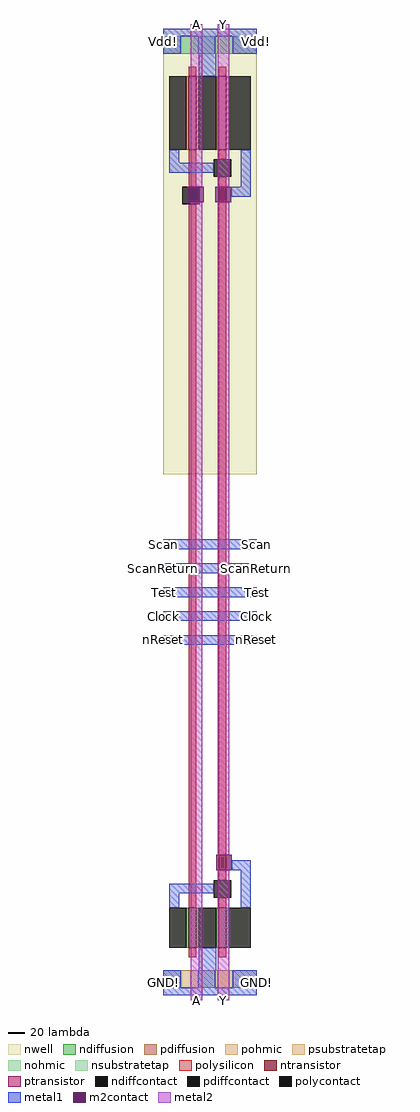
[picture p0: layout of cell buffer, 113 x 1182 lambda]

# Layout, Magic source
magic
tech tsmc180
<< nwell >>
rect 0 637 113 1176
<< polysilicon >>
rect 31 1119 40 1130
rect 67 1119 76 1130
rect 31 985 40 1030
rect 67 1018 76 1030
rect 31 112 40 964
rect 67 145 76 997
rect 67 112 76 124
rect 31 52 40 63
rect 67 52 76 63
<< ndiffusion >>
rect 28 63 31 112
rect 40 63 43 112
rect 64 63 67 112
rect 76 63 79 112
<< pdiffusion >>
rect 28 1030 31 1119
rect 40 1030 43 1119
rect 64 1030 67 1119
rect 76 1030 79 1119
<< pohmic >>
rect 0 15 21 36
rect 42 15 63 36
rect 84 15 113 36
<< nohmic >>
rect 0 1146 21 1167
rect 42 1146 63 1167
rect 84 1146 113 1167
<< ntransistor >>
rect 31 63 40 112
rect 67 63 76 112
<< ptransistor >>
rect 31 1030 40 1119
rect 67 1030 76 1119
<< polycontact >>
rect 61 997 82 1018
rect 23 964 44 985
rect 61 124 82 145
<< ndiffcontact >>
rect 7 63 28 112
rect 43 63 64 112
rect 79 63 106 112
<< pdiffcontact >>
rect 7 1030 28 1119
rect 43 1030 64 1119
rect 79 1030 106 1119
<< psubstratetap >>
rect 21 15 42 36
rect 63 15 84 36
<< nsubstratetap >>
rect 21 1146 42 1167
rect 63 1146 84 1167
<< metal1 >>
rect 0 1167 113 1176
rect 0 1146 21 1167
rect 42 1146 63 1167
rect 84 1146 113 1167
rect 43 1119 64 1146
rect 7 1014 19 1030
rect 7 1002 61 1014
rect 94 985 106 1030
rect 82 973 106 985
rect 0 546 113 558
rect 0 517 113 529
rect 0 488 113 500
rect 0 459 113 471
rect 0 430 113 442
rect 83 157 106 169
rect 7 129 61 141
rect 7 112 19 129
rect 94 112 106 157
rect 43 36 64 63
rect 0 15 21 36
rect 42 15 63 36
rect 84 15 113 36
rect 0 6 113 15
<< m2contact >>
rect 30 966 44 985
rect 44 966 49 985
rect 63 966 82 985
rect 64 157 83 176
<< metal2 >>
rect 33 985 47 1182
rect 66 985 80 1182
rect 33 0 47 966
rect 66 176 80 966
rect 66 0 80 157
<< labels >>
rlabel metal1 0 6 0 36 3 GND!
rlabel metal2 66 0 80 0 1 Y
rlabel metal1 113 6 113 36 7 GND!
rlabel metal2 33 0 47 0 1 A
rlabel metal1 0 430 0 442 3 nReset
rlabel metal1 0 459 0 471 3 Clock
rlabel metal1 0 488 0 500 3 Test
rlabel metal1 0 517 0 529 3 ScanReturn
rlabel metal1 0 546 0 558 3 Scan
rlabel metal1 113 430 113 442 7 nReset
rlabel metal1 113 459 113 471 7 Clock
rlabel metal1 113 488 113 500 7 Test
rlabel metal1 113 517 113 529 7 ScanReturn
rlabel metal1 113 546 113 558 7 Scan
rlabel metal2 66 1182 80 1182 5 Y
rlabel metal2 33 1182 47 1182 5 A
rlabel metal1 113 1146 113 1176 7 Vdd!
rlabel metal1 0 1146 0 1176 3 Vdd!
<< end >>
